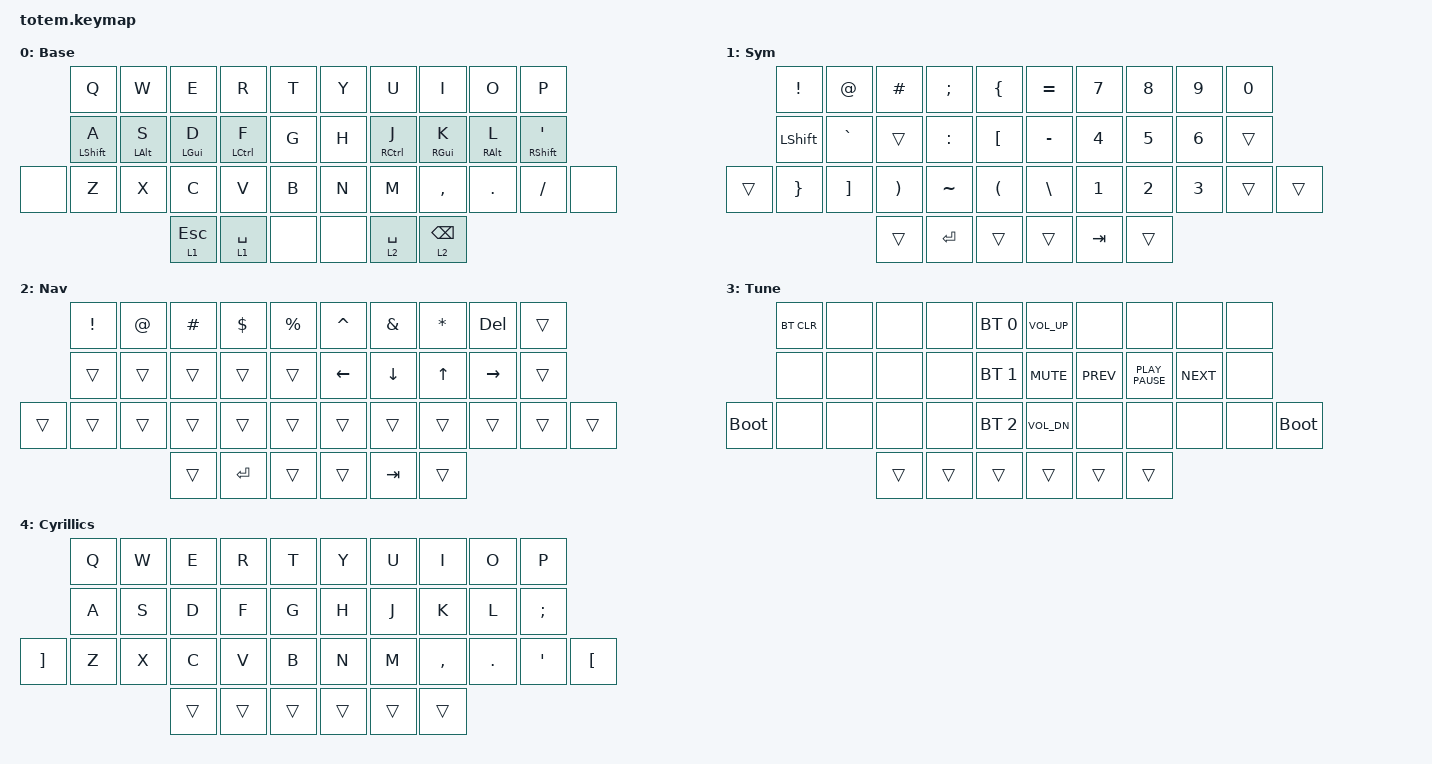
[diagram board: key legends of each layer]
//
//                                                        ▀▀▀▀▀     ▀▀▀▀▀          ▀▀█▀▀
//                                                        ▄▀▀▀▄  ▄  ▄▀▀▀▄  ▄  ▄▀▀▀▄  █  ▄▀▀▀▄
//                                                        █   █  █  █   █  █  █   █  █  █   █
//                                                         ▀▀▀   █   ▀▀▀   █   ▀▀▀   ▀   ▀▀▀
//                                                               █      ▄▄▄█▄▄▄    █   █  
//                                                               ▀      █  █  █     █▄█
//                                                             ▀▀▀▀▀    █  █  █      ▀
//                                                                      ▀  ▀  ▀
//
// ▄▄▄▄▄▄▄▄▄▄▄▄▄▄▄▄▄▄▄▄▄▄▄▄▄▄▄▄▄▄▄▄▄▄▄▄▄▄▄▄▄▄▄▄▄▄▄▄▄▄▄▄▄▄▄▄▄▄▄▄▄▄▄▄▄▄▄▄▄▄▄▄▄▄▄▄▄▄▄▄▄▄▄▄▄▄▄▄▄▄▄▄▄▄▄▄▄▄▄▄▄▄▄▄▄▄▄▄▄▄▄▄▄▄▄▄▄▄▄▄▄▄▄▄▄▄▄▄▄▄▄▄▄▄▄▄▄▄▄▄▄▄▄▄▄▄▄▄▄

#include <behaviors.dtsi>
#include <dt-bindings/zmk/bt.h>
#include <dt-bindings/zmk/keys.h>

&mt {
    quick-tap-ms = <100>;
    global-quick-tap;
    flavor = "tap-preferred";
    tapping-term-ms = <170>;
};

&lt {
    tapping-term-ms = <240>;
    flavor = "balanced";
    quick-tap-ms = <150>;
};

/ {
    behaviors {
        hm: homerow_mods {
            compatible = "zmk,behavior-hold-tap";
            label = "HOMEROW_MODS";
            #binding-cells = <2>;
            flavor = "tap-preferred";
            tapping-term-ms = <200>;
            quick-tap-ms = <125>;
            global-quick-tap;
            bindings = <&kp>, <&kp>;
        };

        hml: hml {
            compatible = "zmk,behavior-hold-tap";
            label = "HML";
            bindings = <&kp>, <&kp>;

            #binding-cells = <2>;
            tapping-term-ms = <280>;
            quick-tap-ms = <175>;
            require-prior-idle-ms = <150>;
            flavor = "balanced";
            hold-trigger-on-release;
            hold-trigger-key-positions = <20 0 1 2 3 4 10 11 12 13 14 25 24 23 22 21 32 33 34 35 36 37>;
        };

        hmr: hmr {
            compatible = "zmk,behavior-hold-tap";
            label = "HMR";
            bindings = <&kp>, <&kp>;

            #binding-cells = <2>;
            tapping-term-ms = <280>;
            quick-tap-ms = <175>;
            require-prior-idle-ms = <150>;
            flavor = "balanced";
            hold-trigger-on-release;
            hold-trigger-key-positions = <32 33 34 35 36 37 15 5 26 27 16 7 6 17 28 8 18 29 9 19 30 31>;
        };
    };

    combos {
        compatible = "zmk,combos";

        to_base {
            bindings = <&to 0>;
            key-positions = <13 16>;
        };

        to_cyr {
            bindings = <&to 4>;
            key-positions = <15 14>;
        };
    };

    keymap {
        compatible = "zmk,keymap";

        Base {
            label = "Base";
            bindings = <
       &kp Q         &kp W        &kp E        &kp R         &kp T    &kp Y  &kp U         &kp I            &kp O        &kp P
       &hml LSHFT A  &hml LALT S  &hml LGUI D  &hml LCTRL F  &kp G    &kp H  &hmr RCTRL J  &hmr RGUI K      &hmr RALT L  &hmr RSHFT SQT
&none  &kp Z         &kp X        &kp C        &kp V         &kp B    &kp N  &kp M         &kp COMMA        &kp DOT      &kp SLASH       &none
                                  &lt 1 ESC    &lt 1 SPACE   &none    &none  &lt 2 SPACE   &lt 2 BACKSPACE
            >;
        };

        Sym {
            label = "Sym";
            bindings = <
        &kp EXCLAMATION  &kp AT             &kp POUND              &kp SEMICOLON  &kp LBRC    &kp EQUAL      &kp NUMBER_7  &kp NUMBER_8  &kp NUMBER_9  &kp N0
        &kp LEFT_SHIFT   &kp GRAVE          &trans                 &kp COLON      &kp LBKT    &kp MINUS      &kp NUMBER_4  &kp NUMBER_5  &kp NUMBER_6  &trans
&trans  &kp RIGHT_BRACE  &kp RIGHT_BRACKET  &kp RIGHT_PARENTHESIS  &kp TILDE      &kp LPAR    &kp BACKSLASH  &kp NUMBER_1  &kp NUMBER_2  &kp NUMBER_3  &trans  &trans
                                            &trans                 &kp ENTER      &trans      &trans         &kp TAB       &trans
            >;
        };

        Nav {
            label = "Nav";
            bindings = <
        &kp EXCL  &kp AT  &kp HASH  &kp DOLLAR  &kp PERCENT    &kp CARET  &kp AMPS  &kp STAR  &kp DEL    &trans
        &trans    &trans  &trans    &trans      &trans         &kp LEFT   &kp DOWN  &kp UP    &kp RIGHT  &trans
&trans  &trans    &trans  &trans    &trans      &trans         &trans     &trans    &trans    &trans     &trans  &trans
                          &trans    &kp ENTER   &trans         &trans     &kp TAB   &trans
            >;
        };

        Tune {
            bindings = <
             &bt BT_CLR  &none  &none   &none   &bt BT_SEL 0    &kp C_VOL_UP  &none       &none             &none       &none
             &none       &none  &none   &none   &bt BT_SEL 1    &kp K_MUTE    &kp K_PREV  &kp K_PLAY_PAUSE  &kp K_NEXT  &none
&bootloader  &none       &none  &none   &none   &bt BT_SEL 2    &kp C_VOL_DN  &none       &none             &none       &none  &bootloader
                                &trans  &trans  &trans          &trans        &trans      &trans
            >;

            label = "Tune";
        };

        Cyr {
            bindings = <
          &kp Q  &kp W  &kp E   &kp R   &kp T     &kp Y   &kp U   &kp I      &kp O    &kp P
          &kp A  &kp S  &kp D   &kp F   &kp G     &kp H   &kp J   &kp K      &kp L    &kp SEMI
&kp RBKT  &kp Z  &kp X  &kp C   &kp V   &kp B     &kp N   &kp M   &kp COMMA  &kp DOT  &kp APOS  &kp LBKT
                        &trans  &trans  &trans    &trans  &trans  &trans
            >;

            label = "Cyrillics";
        };
    };

    conditional_layers {
        compatible = "zmk,conditional-layers";

        raise_lower {
            if-layers = <2 1>;
            then-layer = <3>;
        };
    };
};
